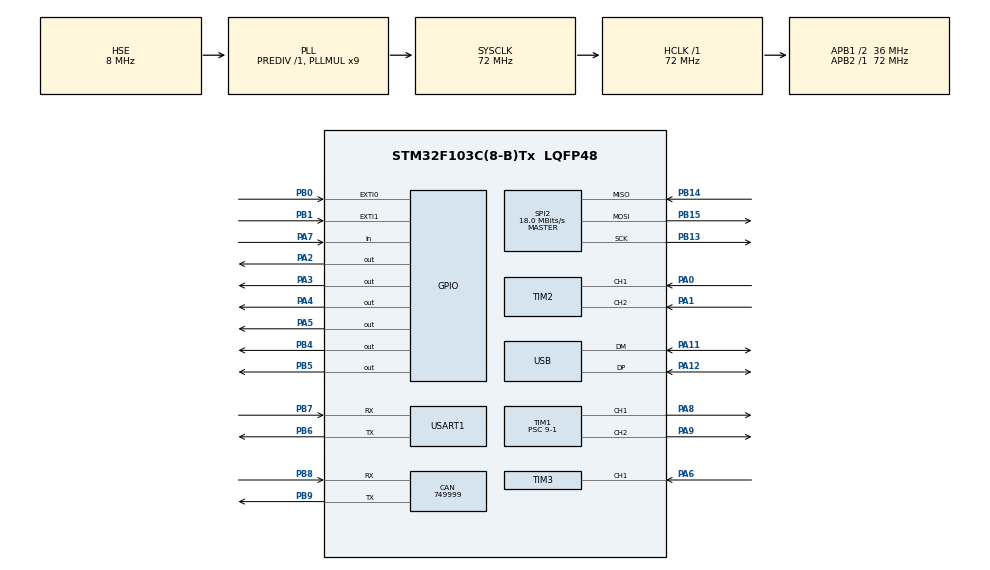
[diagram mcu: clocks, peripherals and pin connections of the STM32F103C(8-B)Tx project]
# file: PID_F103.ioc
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CAN.CalculateBaudRate=749999
CAN.CalculateTimeBit=1333
CAN.CalculateTimeQuantum=444.44444444444446
FREERTOS.Tasks01=taskPID,3,512,PIDTask,Default,NULL,Dynamic,NULL,NULL;taskUSB,-3,128,USBtask,Default,NULL,Dynamic,NULL,NULL
FREERTOS.configTOTAL_HEAP_SIZE=5120
FREERTOS.configUSE_NEWLIB_REENTRANT=1
Mcu.Family=STM32F1
Mcu.Name=STM32F103C(8-B)Tx
Mcu.Package=LQFP48
NVIC.EXTI0_IRQn=true\:5\:0\:false\:false\:true\:true\:true\:true\:true
NVIC.EXTI1_IRQn=true\:5\:0\:false\:false\:true\:true\:true\:true\:true
NVIC.PriorityGroup=NVIC_PRIORITYGROUP_4
NVIC.TIM3_IRQn=true\:5\:0\:false\:false\:true\:true\:true\:true\:true
NVIC.TIM4_IRQn=true\:5\:0\:false\:false\:true\:true\:true\:true\:true
NVIC.USART1_IRQn=true\:5\:0\:false\:false\:true\:true\:true\:true\:true
NVIC.USB_LP_CAN1_RX0_IRQn=true\:5\:0\:false\:false\:true\:true\:false\:true\:true
PA0-WKUP.Signal=S_TIM2_CH1_ETR
PA1.Signal=S_TIM2_CH2
PA11.Mode=Device
PA11.Signal=USB_DM
PA12.Mode=Device
PA12.Signal=USB_DP
PA13.Mode=Serial_Wire
PA13.Signal=SYS_JTMS-SWDIO
PA14.Mode=Serial_Wire
PA14.Signal=SYS_JTCK-SWCLK
PA2.Signal=GPIO_Output
PA3.Signal=GPIO_Output
PA4.Signal=GPIO_Output
PA5.Signal=GPIO_Output
PA6.Signal=S_TIM3_CH1
PA7.GPIO_PuPd=GPIO_PULLUP
PA7.Signal=GPIO_Input
PA8.Signal=S_TIM1_CH1
PA9.Signal=S_TIM1_CH2
PB0.GPIO_PuPd=GPIO_PULLUP
PB0.Signal=GPXTI0
PB1.GPIO_PuPd=GPIO_PULLUP
PB1.Signal=GPXTI1
PB13.Mode=Full_Duplex_Master
PB13.Signal=SPI2_SCK
PB14.Mode=Full_Duplex_Master
PB14.Signal=SPI2_MISO
PB15.Mode=Full_Duplex_Master
PB15.Signal=SPI2_MOSI
PB4.Signal=GPIO_Output
PB5.Signal=GPIO_Output
PB6.Mode=Asynchronous
PB6.Signal=USART1_TX
PB7.Mode=Asynchronous
PB7.Signal=USART1_RX
PB8.Mode=CAN_Activate
PB8.Signal=CAN_RX
PB9.Mode=CAN_Activate
PB9.Signal=CAN_TX
PD0-OSC_IN.Mode=HSE-External-Oscillator
PD0-OSC_IN.Signal=RCC_OSC_IN
PD1-OSC_OUT.Mode=HSE-External-Oscillator
PD1-OSC_OUT.Signal=RCC_OSC_OUT
ProjectManager.HeapSize=0x200
ProjectManager.StackSize=0x400
ProjectManager.TargetToolchain=STM32CubeIDE
RCC.AHBFreq_Value=72000000
RCC.APB1CLKDivider=RCC_HCLK_DIV2
RCC.APB1Freq_Value=36000000
RCC.APB1TimFreq_Value=72000000
RCC.APB2Freq_Value=72000000
RCC.APB2TimFreq_Value=72000000
RCC.HCLKFreq_Value=72000000
RCC.PLLMUL=RCC_PLL_MUL9
RCC.SYSCLKFreq_VALUE=72000000
RCC.SYSCLKSource=RCC_SYSCLKSOURCE_PLLCLK
RCC.USBFreq_Value=48000000
RCC.USBPrescaler=RCC_USBCLKSOURCE_PLL_DIV1_5
SH.S_TIM1_CH1.0=TIM1_CH1,PWM Generation1 CH1
SH.S_TIM1_CH2.0=TIM1_CH2,PWM Generation2 CH2
SH.S_TIM2_CH1_ETR.0=TIM2_CH1,Encoder_Interface
SH.S_TIM2_CH2.0=TIM2_CH2,Encoder_Interface
SH.S_TIM3_CH1.0=TIM3_CH1,Input_Capture1_from_TI1
SPI2.CalculateBaudRate=18.0 MBits/s
SPI2.Direction=SPI_DIRECTION_2LINES
SPI2.Mode=SPI_MODE_MASTER
SPI2.VirtualType=VM_MASTER
TIM1.Channel-PWM\ Generation1\ CH1=TIM_CHANNEL_1
TIM1.Channel-PWM\ Generation2\ CH2=TIM_CHANNEL_2
TIM1.OCFastMode_PWM-PWM\ Generation1\ CH1=TIM_OCFAST_ENABLE
TIM1.OCFastMode_PWM-PWM\ Generation2\ CH2=TIM_OCFAST_ENABLE
TIM1.Period=1000-1
TIM1.Prescaler=9-1
TIM2.EncoderMode=TIM_ENCODERMODE_TI12
TIM2.IC1Filter=10
TIM2.IC1Polarity=TIM_ICPOLARITY_FALLING
TIM2.IC2Filter=10
TIM2.IC2Polarity=TIM_ICPOLARITY_FALLING
TIM3.Channel-Input_Capture1_from_TI1=TIM_CHANNEL_1
TIM4.Period=10000-1
TIM4.Prescaler=36-1
USART1.VirtualMode=VM_ASYNC
USB_DEVICE.CLASS_NAME_FS=CUSTOM_HID
USB_DEVICE.CUSTOM_HID_FS_BINTERVAL=0x1
USB_DEVICE.MANUFACTURER_STRING=DCN FEEteam
USB_DEVICE.PRODUCT_STRING_CUSTOMHID_FS=FEEteam Smart PID 
USB_DEVICE.USBD_CUSTOMHID_OUTREPORT_BUF_SIZE=64
USB_DEVICE.USBD_CUSTOM_HID_REPORT_DESC_SIZE=28
USB_DEVICE.VirtualMode=CustomHid
USB_DEVICE.VirtualModeFS=Custom_Hid_FS
VP_CRC_VS_CRC.Mode=CRC_Activate
VP_FREERTOS_VS_CMSIS_V1.Mode=CMSIS_V1
VP_TIM1_VS_ClockSourceINT.Mode=Internal
VP_TIM3_VS_ClockSourceINT.Mode=Internal
VP_TIM4_VS_ClockSourceINT.Mode=Internal
VP_USB_DEVICE_VS_USB_DEVICE_CUSTOM_HID_FS.Mode=CUSTOM_HID_FS
board=custom

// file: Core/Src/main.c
/* USER CODE BEGIN Header */
/**
  ******************************************************************************
  * @file           : main.c
  * @brief          : Main program body
  ******************************************************************************
  * @attention
  *
  * Copyright (c) 2024 STMicroelectronics.
  * All rights reserved.
  *
  * This software is licensed under terms that can be found in the LICENSE file
  * in the root directory of this software component.
  * If no LICENSE file comes with this software, it is provided AS-IS.
  *
  ******************************************************************************
  */
/* USER CODE END Header */
#include "main.h"
#include "cmsis_os.h"
#include "can.h"
#include "crc.h"
#include "spi.h"
#include "tim.h"
#include "usart.h"
#include "usb_device.h"
#include "gpio.h"

/* USER CODE BEGIN Includes */
#include <PID.h>
#include <IRQ.h>
/* USER CODE END Includes */

/* USER CODE BEGIN PV */
uint32_t set_speed = 0;
uint32_t set_Pos = 0;
PID_typedef PID;
/* USER CODE END PV */

void SystemClock_Config(void);
void MX_FREERTOS_Init(void);

int main(void)
{

  /* MCU Configuration--------------------------------------------------------*/

  /* Reset of all peripherals, Initializes the Flash interface and the Systick. */
  HAL_Init();

  /* Configure the system clock */
  SystemClock_Config();

  /* Initialize all configured peripherals */
  MX_GPIO_Init();
  MX_CAN_Init();
  MX_TIM1_Init();
  MX_TIM2_Init();
  MX_TIM3_Init();
  MX_TIM4_Init();
  MX_USART1_UART_Init();
  MX_CRC_Init();
  MX_SPI2_Init();
  /* USER CODE BEGIN 2 */
  HAL_TIM_PWM_Start(&htim1, TIM_CHANNEL_1);
  HAL_TIM_PWM_Start(&htim1, TIM_CHANNEL_2);
  HAL_GPIO_WritePin(GPIOB, GPIO_PIN_0,1);
  HAL_TIM_Encoder_Start(&htim2,TIM_CHANNEL_ALL);

  PID_Init(&PID,PID_Speed);
  PID_Init(&PID,PID_Position);

  PID_Motor_Ctrl(PID.Motor_Duty);

  HAL_TIM_Base_Start_IT(&htim4);

  HAL_UART_Receive_IT(&huart1,PID.pid_rev.rxData,len(PID.pid_rev.rxData));
  /* USER CODE END 2 */

  /* Call init function for freertos objects (in cmsis_os2.c) */
  MX_FREERTOS_Init();

  /* Start scheduler */
  osKernelStart();

  /* We should never get here as control is now taken by the scheduler */

  /* Infinite loop */
  while (1)
  {

  }
}

void SystemClock_Config(void)
{
  RCC_OscInitTypeDef RCC_OscInitStruct = {0};
  RCC_ClkInitTypeDef RCC_ClkInitStruct = {0};
  RCC_PeriphCLKInitTypeDef PeriphClkInit = {0};

  /** Initializes the RCC Oscillators according to the specified parameters
  * in the RCC_OscInitTypeDef structure.
  */
  RCC_OscInitStruct.OscillatorType = RCC_OSCILLATORTYPE_HSE;
  RCC_OscInitStruct.HSEState = RCC_HSE_ON;
  RCC_OscInitStruct.HSEPredivValue = RCC_HSE_PREDIV_DIV1;
  RCC_OscInitStruct.HSIState = RCC_HSI_ON;
  RCC_OscInitStruct.PLL.PLLState = RCC_PLL_ON;
  RCC_OscInitStruct.PLL.PLLSource = RCC_PLLSOURCE_HSE;
  RCC_OscInitStruct.PLL.PLLMUL = RCC_PLL_MUL9;
  if (HAL_RCC_OscConfig(&RCC_OscInitStruct) != HAL_OK)
  {
    Error_Handler();
  }

  /** Initializes the CPU, AHB and APB buses clocks
  */
  RCC_ClkInitStruct.ClockType = RCC_CLOCKTYPE_HCLK|RCC_CLOCKTYPE_SYSCLK
                              |RCC_CLOCKTYPE_PCLK1|RCC_CLOCKTYPE_PCLK2;
  RCC_ClkInitStruct.SYSCLKSource = RCC_SYSCLKSOURCE_PLLCLK;
  RCC_ClkInitStruct.AHBCLKDivider = RCC_SYSCLK_DIV1;
  RCC_ClkInitStruct.APB1CLKDivider = RCC_HCLK_DIV2;
  RCC_ClkInitStruct.APB2CLKDivider = RCC_HCLK_DIV1;

  if (HAL_RCC_ClockConfig(&RCC_ClkInitStruct, FLASH_LATENCY_2) != HAL_OK)
  {
    Error_Handler();
  }
  PeriphClkInit.PeriphClockSelection = RCC_PERIPHCLK_USB;
  PeriphClkInit.UsbClockSelection = RCC_USBCLKSOURCE_PLL_DIV1_5;
  if (HAL_RCCEx_PeriphCLKConfig(&PeriphClkInit) != HAL_OK)
  {
    Error_Handler();
  }
}

void Error_Handler(void)
{
  __disable_irq();
  while (1)
  {
  }
}

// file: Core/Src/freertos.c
/* USER CODE BEGIN Header */
/**
  ******************************************************************************
  * File Name          : freertos.c
  * Description        : Code for freertos applications
  ******************************************************************************
  * @attention
  *
  * Copyright (c) 2024 STMicroelectronics.
  * All rights reserved.
  *
  * This software is licensed under terms that can be found in the LICENSE file
  * in the root directory of this software component.
  * If no LICENSE file comes with this software, it is provided AS-IS.
  *
  ******************************************************************************
  */
/* USER CODE END Header */

#include "FreeRTOS.h"
#include "task.h"
#include "main.h"
#include "cmsis_os.h"

/* USER CODE BEGIN Includes */
#include <PID.h>
#include <IRQ.h>
/* USER CODE END Includes */

/* USER CODE BEGIN Variables */
extern uint32_t set_speed;
extern uint32_t set_Pos;
extern PID_typedef PID;
/* USER CODE END Variables */
osThreadId taskPIDHandle;
osThreadId taskUSBHandle;

void PIDTask(void const * argument);
void USBtask(void const * argument);

extern void MX_USB_DEVICE_Init(void);
void MX_FREERTOS_Init(void); /* (MISRA C 2004 rule 8.1) */

/* GetIdleTaskMemory prototype (linked to static allocation support) */
void vApplicationGetIdleTaskMemory( StaticTask_t **ppxIdleTaskTCBBuffer, StackType_t **ppxIdleTaskStackBuffer, uint32_t *pulIdleTaskStackSize );

/* USER CODE BEGIN GET_IDLE_TASK_MEMORY */
static StaticTask_t xIdleTaskTCBBuffer;
static StackType_t xIdleStack[configMINIMAL_STACK_SIZE];

void vApplicationGetIdleTaskMemory( StaticTask_t **ppxIdleTaskTCBBuffer, StackType_t **ppxIdleTaskStackBuffer, uint32_t *pulIdleTaskStackSize )
{
  *ppxIdleTaskTCBBuffer = &xIdleTaskTCBBuffer;
  *ppxIdleTaskStackBuffer = &xIdleStack[0];
  *pulIdleTaskStackSize = configMINIMAL_STACK_SIZE;
  /* place for user code */
}
/* USER CODE END GET_IDLE_TASK_MEMORY */

void MX_FREERTOS_Init(void) {

  /* Create the thread(s) */
  /* definition and creation of taskPID */
  osThreadDef(taskPID, PIDTask, osPriorityRealtime, 0, 512);
  taskPIDHandle = osThreadCreate(osThread(taskPID), NULL);

  /* definition and creation of taskUSB */
  osThreadDef(taskUSB, USBtask, osPriorityIdle, 0, 128);
  taskUSBHandle = osThreadCreate(osThread(taskUSB), NULL);

}

void PIDTask(void const * argument)
{
  /* init code for USB_DEVICE */
  MX_USB_DEVICE_Init();
  /* USER CODE BEGIN PIDTask */
  /* Infinite loop */
  for(;;)
  {
    osDelay(0);
    if(PID.enablePID == 1)
    {
    	Update_Encoder(&PID);
    	PID.f_cal_pid(&PID,(int32_t*)set_speed);

//    	PID.f_cal_pid(&PID,set_Pos);
    }
  }
  /* USER CODE END PIDTask */
}

void USBtask(void const * argument)
{
  for(;;)
  {
    osDelay(1);
  }
}
